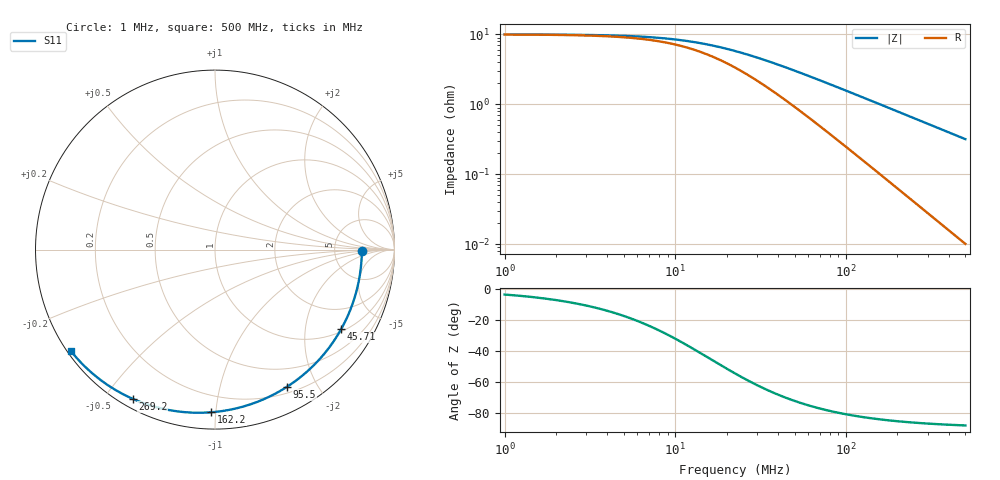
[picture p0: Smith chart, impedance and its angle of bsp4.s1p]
! AWR Design Environment (7670) Wed Feb 10 14:48:53 2016
! Document = 'bsp4'
! nPorts: 1, nXvals: 271
# HZ Z MA R 1
!Freq MagZ11 AngZ11
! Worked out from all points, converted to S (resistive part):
!   271 points, 1 MHz to 500 MHz, reference 1 ohm
!   read as one part to ground: R = 9.96 ohm at 1.023 MHz
!   S11 on the Smith chart (normalised r, x): 1 MHz: 9.96, -0.63; 45.71 MHz: 1.08, -3.11; 95.5 MHz: 0.27, -1.62; 162.2 MHz: 0.10, -0.97; 269.2 MHz: 0.03, -0.59; 500 MHz: 0.01, -0.32
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1000000  9.98 -3.6
2187762  9.907 -7.8
4786301  9.576 -16.7
7244360  9.101 -24.5
1.047128e7  8.354 -33.3
1.548817e7  7.167 -44.2
2.238721e7  5.794 -54.6
2.691535e7  5.09 -59.4
3.235937e7  4.413 -63.8
3.890451e7  3.786 -67.8
4.570882e7  3.288 -70.8
4.897788e7  3.09 -72.0
5.888437e7  2.609 -74.9
6.91831e7  2.242 -77.0
8.128305e7  1.922 -78.9
9.549926e7  1.644 -80.5
1.071519e8  1.469 -81.6
1.318257e8  1.199 -83.1
1.479108e8  1.07 -83.9
1.62181e8  0.9766 -84.4
1.778279e8  0.8914 -84.9
1.949845e8  0.8135 -85.3
2.344229e8  0.6774 -86.1
2.691535e8  0.5903 -86.6
3.162278e8  0.5027 -87.1
3.63078e8  0.4379 -87.5
4.265795e8  0.3728 -87.9
5e8  0.3181 -88.2
